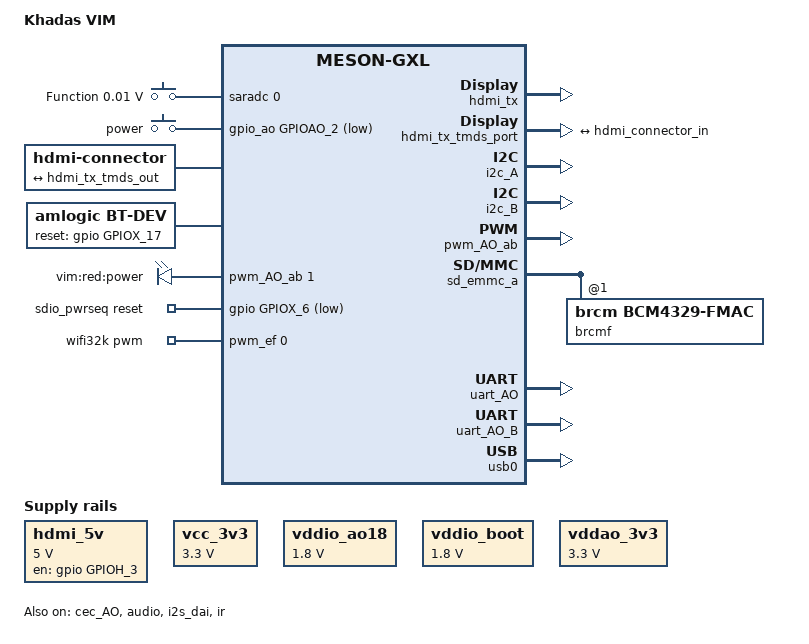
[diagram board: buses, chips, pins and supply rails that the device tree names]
/*
 * Copyright (c) 2017 Martin Blumenstingl <martin.blumenstingl@googlemail.com>.
 *
 * SPDX-License-Identifier: (GPL-2.0+ OR MIT)
 */

/dts-v1/;

#include <dt-bindings/input/input.h>

#include "meson-gxl-s905x-p212.dtsi"

/ {
	compatible = "khadas,vim", "amlogic,s905x", "amlogic,meson-gxl";
	model = "Khadas VIM";

	adc-keys {
		compatible = "adc-keys";
		io-channels = <&saradc 0>;
		io-channel-names = "buttons";
		keyup-threshold-microvolt = <1710000>;

		button-function {
			label = "Function";
			linux,code = <KEY_FN>;
			press-threshold-microvolt = <10000>;
		};
	};

	aliases {
		serial2 = &uart_AO_B;
	};

	gpio-keys-polled {
		compatible = "gpio-keys-polled";
		#address-cells = <1>;
		#size-cells = <0>;
		poll-interval = <100>;

		button@0 {
			label = "power";
			linux,code = <KEY_POWER>;
			gpios = <&gpio_ao GPIOAO_2 GPIO_ACTIVE_LOW>;
		};
	};

	hdmi-connector {
		compatible = "hdmi-connector";
		type = "a";

		port {
			hdmi_connector_in: endpoint {
				remote-endpoint = <&hdmi_tx_tmds_out>;
			};
		};
	};

	bt-dev {
		compatible = "amlogic, bt-dev";
		dev_name = "bt-dev";
		status = "okay";
		gpio_reset = <&gpio       GPIOX_17       GPIO_ACTIVE_HIGH>;
	};

	sound {
		compatible = "simple-audio-card";
		simple-audio-card,name = "meson-gxl-preview";
		status = "okay";

		simple-audio-card,dai-link@0 {
			/* HDMI Output */
			format = "i2s";
			mclk-fs = <256>;
			bitclock-master =  <&i2s_dai>;
			frame-master = <&i2s_dai>;
			plat {
				sound-dai = <&aiu_i2s_dma>;
			};

			cpu {
				sound-dai = <&i2s_dai>;
			};

			codec {
				sound-dai = <&hdmi_tx>;
			};
		};
	};

	pwmleds {
		compatible = "pwm-leds";

		power {
			label = "vim:red:power";
			pwms = <&pwm_AO_ab 1 7812500 0>;
			max-brightness = <255>;
			linux,default-trigger = "default-on";
		};
	};

	sdio_pwrseq: sdio-pwrseq {
		compatible = "mmc-pwrseq-simple";
		reset-gpios = <&gpio GPIOX_6 GPIO_ACTIVE_LOW>;
		clocks = <&wifi32k>;
		clock-names = "ext_clock";
	};

	thermal-zones {
		cpu-thermal {
			polling-delay-passive = <250>; /* milliseconds */
			polling-delay = <1000>; /* milliseconds */

			thermal-sensors = <&scpi_sensors 0>;

			trips {
				cpu_alert0: cpu-alert0 {
					temperature = <70000>; /* millicelsius */
					hysteresis = <2000>; /* millicelsius */
					type = "active";
				};

				cpu_alert1: cpu-alert1 {
					temperature = <80000>; /* millicelsius */
					hysteresis = <2000>; /* millicelsius */
					type = "passive";
				};
			};
		};
	};

	hdmi_5v: regulator-hdmi-5v {
		compatible = "regulator-fixed";

		regulator-name = "HDMI_5V";
		regulator-min-microvolt = <5000000>;
		regulator-max-microvolt = <5000000>;

		gpio = <&gpio GPIOH_3 GPIO_ACTIVE_HIGH>;
		enable-active-high;
		regulator-always-on;
	};

	hdmi_5v: regulator-hdmi-5v {
		compatible = "regulator-fixed";

		regulator-name = "HDMI_5V";
		regulator-min-microvolt = <5000000>;
		regulator-max-microvolt = <5000000>;

		gpio = <&gpio GPIOH_3 GPIO_ACTIVE_HIGH>;
		enable-active-high;
	};

	vcc_3v3: regulator-vcc_3v3 {
		compatible = "regulator-fixed";
		regulator-name = "VCC_3V3";
		regulator-min-microvolt = <3300000>;
		regulator-max-microvolt = <3300000>;
	};

	vddio_ao18: regulator-vddio_ao18 {
		compatible = "regulator-fixed";
		regulator-name = "VDDIO_AO18";
		regulator-min-microvolt = <1800000>;
		regulator-max-microvolt = <1800000>;
	};

	vddio_boot: regulator-vddio_boot {
		compatible = "regulator-fixed";
		regulator-name = "VDDIO_BOOT";
		regulator-min-microvolt = <1800000>;
		regulator-max-microvolt = <1800000>;
	};

	vddao_3v3: regulator-vddao_3v3 {
		compatible = "regulator-fixed";
		regulator-name = "VDDAO_3V3";
		regulator-min-microvolt = <3300000>;
		regulator-max-microvolt = <3300000>;
	};

	wifi32k: wifi32k {
		compatible = "pwm-clock";
		#clock-cells = <0>;
		clock-frequency = <32768>;
		pwms = <&pwm_ef 0 30518 0>; /* PWM_E at 32.768KHz */
	};
};

&cec_AO {
	status = "okay";
	pinctrl-0 = <&ao_cec_pins>;
	pinctrl-names = "default";
	hdmi-phandle = <&hdmi_tx>;
};

&audio {
	status = "okay";
};

&aiu_i2s_dma {
	status = "okay";
};

&i2s_dai {
	status = "okay";
};

&hdmi_tx {
	status = "okay";
	pinctrl-0 = <&hdmi_hpd_pins>, <&hdmi_i2c_pins>;
	pinctrl-names = "default";
	hdmi-supply = <&hdmi_5v>;
};

&hdmi_tx_tmds_port {
	hdmi_tx_tmds_out: endpoint {
		remote-endpoint = <&hdmi_connector_in>;
	};
};

&i2c_A {
	status = "okay";
	pinctrl-0 = <&i2c_a_pins>;
	pinctrl-names = "default";
};

&i2c_B {
	status = "okay";
	pinctrl-0 = <&i2c_b_pins>;
	pinctrl-names = "default";

	rtc: rtc@51 {
		/* has to be enabled manually when a battery is connected: */
		status = "disabled";
		compatible = "haoyu,hym8563";
		reg = <0x51>;
		#clock-cells = <0>;
		clock-frequency = <32768>;
		clock-output-names = "xin32k";
	};
};

&ir {
	status = "okay";
	pinctrl-0 = <&remote_input_ao_pins>;
	pinctrl-names = "default";
	linux,rc-map-name = "rc-geekbox";
};

&pinctrl_aobus {
	gpio-line-names = "UART TX",
			  "UART RX",
			  "Power Key In",
			  "J9 Header Pin35",
			  "J9 Header Pin16",
			  "J9 Header Pin15",
			  "J9 Header Pin33",
			  "IR In",
			  "HDMI CEC",
			  "SYS LED";
};

&pinctrl_periphs {
	gpio-line-names = /* Bank GPIOZ */
			  "", "", "", "", "", "", "",
			  "", "", "", "", "", "", "",
			  "Power OFF",
			  "VCCK Enable",
			  /* Bank GPIOH */
			  "HDMI HPD", "HDMI SDA", "HDMI SCL",
			  "HDMI_5V_EN", "SPDIF",
			  "J9 Header Pin37",
			  "J9 Header Pin30",
			  "J9 Header Pin29",
			  "J9 Header Pin32",
			  "J9 Header Pin31",
			  /* Bank BOOT */
			  "eMMC D0", "eMMC D1", "eMMC D2", "eMMC D3",
			  "eMMC D4", "eMMC D5", "eMMC D6", "eMMC D7",
			  "eMMC Clk", "eMMC Reset", "eMMC CMD",
			  "", "BOOT_MODE", "", "", "eMMC Data Strobe",
			  /* Bank CARD */
			  "SDCard D1", "SDCard D0", "SDCard CLK", "SDCard CMD",
			  "SDCard D3", "SDCard D2", "SDCard Det",
			  /* Bank GPIODV */
			  "", "", "", "", "", "", "", "", "", "", "", "",
			  "", "", "", "", "", "", "", "", "", "", "", "",
			  "I2C A SDA", "I2C A SCK", "I2C B SDA", "I2C B SCK",
			  "VCCK Regulator", "VDDEE Regulator",
			  /* Bank GPIOX */
			  "WIFI SDIO D0", "WIFI SDIO D1", "WIFI SDIO D2",
			  "WIFI SDIO D3", "WIFI SDIO CLK", "WIFI SDIO CMD",
			  "WIFI Power Enable", "WIFI WAKE HOST",
			  "Bluetooth PCM DOUT", "Bluetooth PCM DIN",
			  "Bluetooth PCM SYNC", "Bluetooth PCM CLK",
			  "Bluetooth UART TX", "Bluetooth UART RX",
			  "Bluetooth UART CTS", "Bluetooth UART RTS",
			  "WIFI 32K", "Bluetooth Enable",
			  "Bluetooth WAKE HOST",
			  /* Bank GPIOCLK */
			  "", "J9 Header Pin39",
			  /* GPIO_TEST_N */
			  "";
};

&pwm_AO_ab {
	status = "okay";
	pinctrl-0 = <&pwm_ao_a_3_pins>, <&pwm_ao_b_pins>;
	pinctrl-names = "default";
	clocks = <&xtal> , <&xtal>;
	clock-names = "clkin0", "clkin1" ;
};

&pwm_ef {
	pinctrl-0 = <&pwm_e_pins>, <&pwm_f_clk_pins>;
};

&sd_emmc_a {
	brcmf: wifi@1 {
		reg = <1>;
		compatible = "brcm,bcm4329-fmac";
	};
};

/* This is brought out on the Linux_RX (18) and Linux_TX (19) pins: */
&uart_AO {
	status = "okay";
};

/* This is brought out on the UART_RX_AO_B (15) and UART_TX_AO_B (16) pins: */
&uart_AO_B {
	status = "okay";
	pinctrl-0 = <&uart_ao_b_pins>;
	pinctrl-names = "default";
};

&usb0 {
	status = "okay";
};
